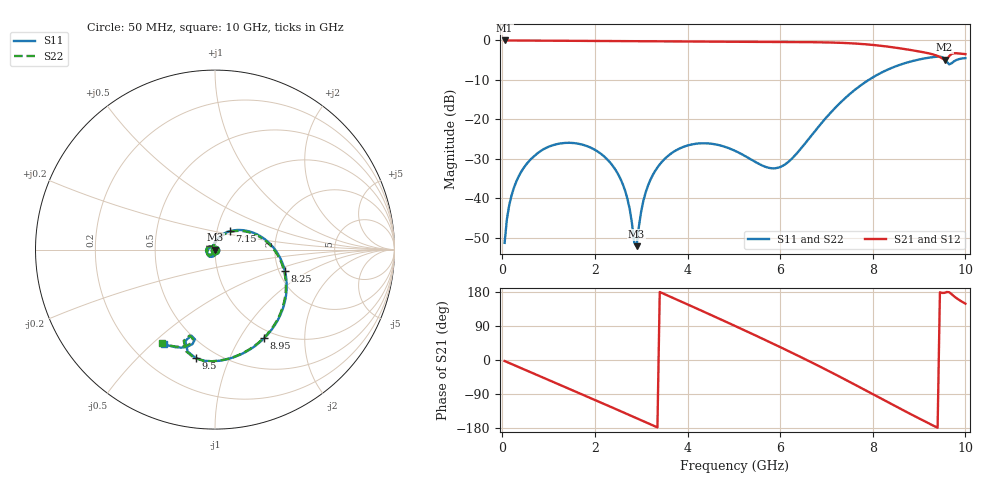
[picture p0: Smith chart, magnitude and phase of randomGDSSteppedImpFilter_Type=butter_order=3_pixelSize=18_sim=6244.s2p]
! freq	dB(S11)	phase(S11)	dB(S12)	phase(S12)
!  dB(S21)	phase(S21)	dB(S22)	phase(S22)
!S-par simulation data
#  GHz  S  DB  R 50
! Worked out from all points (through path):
!   200 points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, 50 MHz to 10 GHz, reference 50 ohm
!   highest |S21| = -0.01 dB at 50 MHz (marker M1); lowest = -4.9 dB at 9.55 GHz (marker M2)
!   group delay of S21, straight-line fit = 159 ps
!   lowest |S11| = -52.2 dB at 2.9 GHz (marker M3), VSWR 1.00, Z = 50.2 + j0.004 ohm
!   |S11| at or under -10 dB: start of sweep to 7.914 GHz
!   |S22| runs from -51.9 to -4.1 dB; largest |S21 - S12| = 0
!   S11 on the Smith chart (normalised r, x): 50 MHz: 1.00, -0.01; 7.15 GHz: 1.15, +0.24; 8.25 GHz: 2.16, -0.62; 8.95 GHz: 0.89, -1.28; 9.5 GHz: 0.39, -0.76; 10 GHz: 0.33, -0.55
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0.05  -51.32 -85.1  -0.01 -2.7  -0.01 -2.7  -51.33 -85.1
0.2  -39.29 -98.8  -0.02 -10.6  -0.02 -10.6  -39.29 -98.8
0.5  -31.70 -116.1  -0.04 -26.4  -0.04 -26.4  -31.70 -116.1
1.15  -26.37 -151.8  -0.08 -60.6  -0.08 -60.6  -26.37 -151.9
1.75  -26.49 175.5  -0.12 -92.3  -0.12 -92.3  -26.49 175.4
2.5  -33.90 132.0  -0.16 -132.1  -0.16 -132.1  -33.90 131.6
2.7  -40.05 114.9  -0.17 -142.8  -0.17 -142.8  -40.04 114.4
2.9  -52.17 0.9  -0.18 -153.6  -0.18 -153.6  -51.95 1.5
3.1  -38.39 -64.0  -0.20 -164.3  -0.20 -164.3  -38.38 -63.9
3.4  -31.43 -85.9  -0.23 179.4  -0.23 179.4  -31.44 -86.0
4.35  -26.07 -140.0  -0.30 127.5  -0.30 127.5  -26.08 -140.7
5.05  -28.13 -179.7  -0.34 88.5  -0.34 88.5  -28.14 178.2
5.95  -32.29 120.7  -0.38 37.0  -0.38 37.0  -32.14 113.6
6.7  -23.73 76.4  -0.45 -7.6  -0.45 -7.6  -23.66 72.2
7.15  -17.57 51.0  -0.55 -35.4  -0.55 -35.4  -17.55 48.3
7.7  -11.75 17.6  -0.85 -70.6  -0.85 -70.6  -11.74 16.0
8.25  -7.80 -17.0  -1.46 -106.5  -1.46 -106.5  -7.80 -18.2
8.35  -7.26 -23.3  -1.61 -113.0  -1.61 -113.0  -7.26 -24.5
8.95  -4.97 -60.9  -2.69 -151.1  -2.69 -151.1  -4.97 -61.8
9.5  -4.24 -100.1  -4.56 177.0  -4.56 177.0  -4.23 -100.9
9.55  -4.62 -105.1  -4.89 177.2  -4.89 177.2  -4.60 -105.9
10  -4.48 -118.3  -3.47 148.6  -3.47 148.6  -4.49 -119.4
